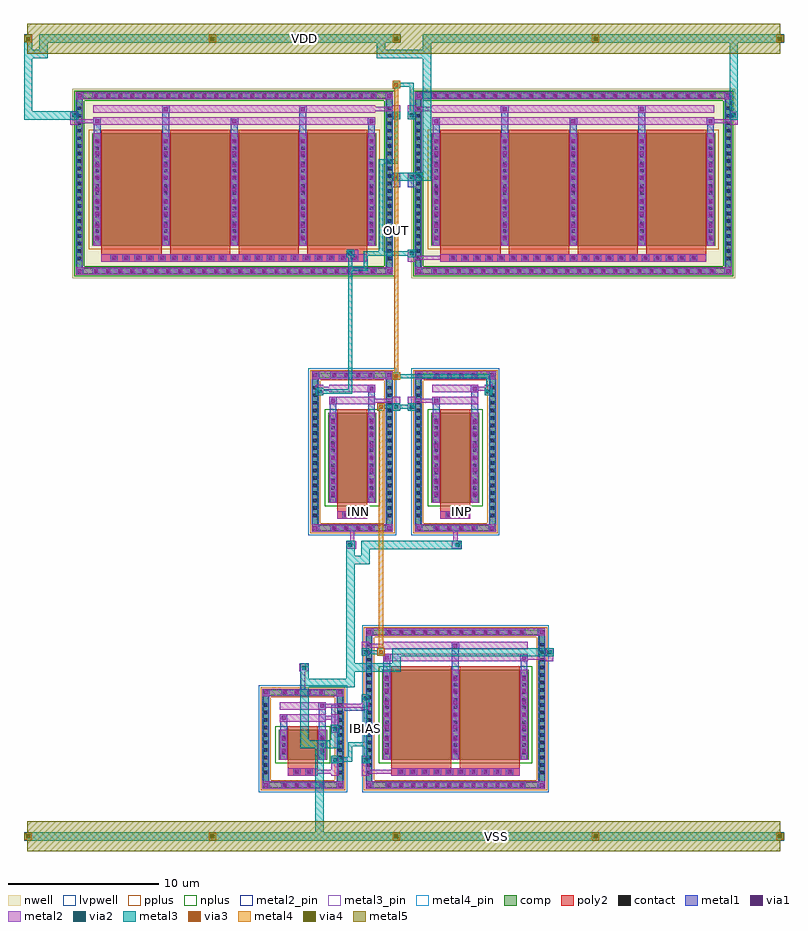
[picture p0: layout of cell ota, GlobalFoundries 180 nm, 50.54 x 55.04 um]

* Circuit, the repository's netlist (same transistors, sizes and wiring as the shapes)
* ox-alpha OTA -- 5T NMOS-input OTA, PMOS mirror load, IBIAS-driven tail
* topology: differential pair XM1/XM2, mirror load XM3/XM4,
* tail XMTAIL mirrored from external IBIAS via diode XMBIAS
.lib "{PDK_LIB}" typical
.subckt ota VDD VSS INP INN OUT IBIAS
XMBIAS IBIAS IBIAS VSS VSS nfet_03v3 W=2.0u L=2.0u nf=1
XMTAIL tail IBIAS VSS VSS nfet_03v3 W=12.0u L=4.0u nf=2
XM1 n1 INN tail VSS nfet_03v3 W=6.0u L=2.0u nf=1
XM2 OUT INP tail VSS nfet_03v3 W=6.0u L=2.0u nf=1
XM3 n1 n1 VDD VDD pfet_03v3 W=30.0u L=4.0u nf=4
XM4 OUT n1 VDD VDD pfet_03v3 W=30.0u L=4.0u nf=4
.ends

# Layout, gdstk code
import gdstk
lib = gdstk.Library(unit=1e-6, precision=1e-09)
def R(c, l, rs):  # rectangles x0, y0, x1, y1
    for r in rs: c.add(gdstk.rectangle(r[:2], r[2:], *l))
def A(c, l, x, y, w, h, nx, ny, dx, dy):  # array of equal rectangles
    R(c, l, [(x+i*dx, y+j*dy, x+i*dx+w, y+j*dy+h) for i in range(nx) for j in range(ny)])
def P(c, l, *ps):  # polygons
    for p in ps: c.add(gdstk.Polygon(p, *l))
nwell = (21, 0)
comp = (22, 0)
poly2 = (30, 0)
pplus = (31, 0)
nplus = (32, 0)
contact = (33, 0)
metal1 = (34, 0)
via1 = (35, 0)
metal2 = (36, 0)
metal2_pin = (36, 10)
via2 = (38, 0)
via3 = (40, 0)
via4 = (41, 0)
metal3 = (42, 0)
metal3_pin = (42, 10)
metal4 = (46, 0)
metal4_pin = (46, 10)
metal5 = (81, 0)
lvpwell = (204, 0)

ota = lib.new_cell('ota')
R(ota, nwell, [(-22.04,34.18,-0.5,46.77), (0.5,34.18,22.04,46.77)])
A(ota, comp, -8.09, 0.28, 0.36, 0.36, 4, 2, 0.8, 6.17)
A(ota, comp, -1.15, 0.28, 0.36, 0.36, 12, 2, 0.8, 10.17)
A(ota, comp, -9.36, 1.115, 0.36, 0.36, 1, 10, 0, 0.5)
A(ota, comp, -4.42, 1.115, 0.36, 0.36, 1, 10, 0, 0.5)
A(ota, comp, -2.5, 1.115, 0.36, 0.36, 1, 18, 0, 0.5)
A(ota, comp, 9, 1.115, 0.36, 0.36, 1, 18, 0, 0.5)
A(ota, comp, -4.81, 17.37, 0.36, 0.36, 4, 2, 0.8, 10.17)
A(ota, comp, 2.05, 17.37, 0.36, 0.36, 4, 2, 0.8, 10.17)
A(ota, comp, -6.08, 18.205, 0.36, 0.36, 1, 18, 0, 0.5)
A(ota, comp, -1.14, 18.205, 0.36, 0.36, 1, 18, 0, 0.5)
A(ota, comp, 0.78, 18.205, 0.36, 0.36, 1, 18, 0, 0.5)
A(ota, comp, 5.72, 18.205, 0.36, 0.36, 1, 18, 0, 0.5)
A(ota, comp, -20.65, 34.46, 0.36, 0.36, 24, 2, 0.8, 11.67)
A(ota, comp, 1.89, 34.46, 0.36, 0.36, 24, 2, 0.8, 11.67)
A(ota, comp, -21.76, 35.295, 0.36, 0.36, 1, 21, 0, 0.5)
A(ota, comp, -1.14, 35.295, 0.36, 0.36, 1, 21, 0, 0.5)
A(ota, comp, 0.78, 35.295, 0.36, 0.36, 1, 21, 0, 0.5)
A(ota, comp, 21.4, 35.295, 0.36, 0.36, 1, 21, 0, 0.5)
R(ota, comp, [(-8.09,0.28,-5.33,0.64), (-1.15,0.28,8.01,0.64), (-9.36,1.115,-9,5.975), (-4.42,1.115,-4.06,5.975), (-2.5,1.115,-2.14,9.975), (9,1.115,9.36,9.975), (-8.31,2.14,-5.11,4.14), (-1.45,2.14,8.31,8.14), (-8.09,6.45,-5.33,6.81), (-1.15,10.45,8.01,10.81), (-4.81,17.37,-2.05,17.73), (2.05,17.37,4.81,17.73), (-6.08,18.205,-5.72,27.065), (-1.14,18.205,-0.78,27.065), (0.78,18.205,1.14,27.065), (5.72,18.205,6.08,27.065), (-5.03,19.23,-1.83,25.23), (1.83,19.23,5.03,25.23), (-4.81,27.54,-2.05,27.9), (2.05,27.54,4.81,27.9), (-20.65,34.46,-1.89,34.82), (1.89,34.46,20.65,34.82), (-21.76,35.295,-21.4,45.655), (-1.14,35.295,-0.78,45.655), (0.78,35.295,1.14,45.655), (21.4,35.295,21.76,45.655), (-20.71,36.32,-1.83,43.82), (1.83,36.32,20.71,43.82), (-20.65,46.13,-1.89,46.49), (1.89,46.13,20.65,46.49)])
P(ota, comp, [(-4.06,6.81),(-9.36,6.81),(-9.36,0.64),(-9,0.64),(-9,6.45),(-4.42,6.45),(-4.42,0.64),(-9,0.64),(-9.36,0.64),(-9.36,0.28),(-4.06,0.28)],
  [(21.76,46.49),(0.78,46.49),(0.78,34.82),(1.14,34.82),(1.14,46.13),(21.4,46.13),(21.4,34.82),(1.14,34.82),(0.78,34.82),(0.78,34.46),(21.76,34.46)],
  [(-0.78,46.49),(-21.76,46.49),(-21.76,34.82),(-21.4,34.82),(-21.4,46.13),(-1.14,46.13),(-1.14,34.82),(-21.4,34.82),(-21.76,34.82),(-21.76,34.46),(-0.78,34.46)],
  [(6.08,27.9),(0.78,27.9),(0.78,17.73),(1.14,17.73),(1.14,27.54),(5.72,27.54),(5.72,17.73),(1.14,17.73),(0.78,17.73),(0.78,17.37),(6.08,17.37)],
  [(-0.78,27.9),(-6.08,27.9),(-6.08,17.73),(-5.72,17.73),(-5.72,27.54),(-1.14,27.54),(-1.14,17.73),(-5.72,17.73),(-6.08,17.73),(-6.08,17.37),(-0.78,17.37)],
  [(9.36,10.81),(-2.5,10.81),(-2.5,0.64),(-2.14,0.64),(-2.14,10.45),(9,10.45),(9,0.64),(-2.14,0.64),(-2.5,0.64),(-2.5,0.28),(9.36,0.28)])
A(ota, poly2, -0.35, 1.17, 0.36, 0.36, 10, 1, 0.8, 0)
A(ota, poly2, -19.45, 35.35, 0.36, 0.36, 21, 1, 0.8, 0)
A(ota, poly2, 3.09, 35.35, 0.36, 0.36, 21, 1, 0.8, 0)
A(ota, poly2, -20.11, 35.78, 4, 0.3, 4, 1, 4.56, 0)
A(ota, poly2, 2.43, 35.78, 4, 0.3, 4, 1, 4.56, 0)
A(ota, poly2, -20.11, 36.08, 4, 7.98, 4, 1, 4.56, 0)
A(ota, poly2, 2.43, 36.08, 4, 7.98, 4, 1, 4.56, 0)
R(ota, poly2, [(-7.71,1.1,-5.71,1.6), (-0.85,1.1,7.71,1.6), (-7.29,1.17,-6.93,1.53), (-6.49,1.17,-6.13,1.53), (-7.71,1.6,-5.71,1.9), (-0.85,1.6,3.15,1.9), (3.71,1.6,7.71,1.9), (-7.71,1.9,-5.71,4.38), (-0.85,1.9,3.15,8.38), (3.71,1.9,7.71,8.38), (-4.43,18.19,-2.43,18.69), (2.43,18.19,4.43,18.69), (-4.01,18.26,-3.65,18.62), (-3.21,18.26,-2.85,18.62), (2.85,18.26,3.21,18.62), (3.65,18.26,4.01,18.62), (-4.43,18.69,-2.43,18.99), (2.43,18.69,4.43,18.99), (-4.43,18.99,-2.43,25.47), (2.43,18.99,4.43,25.47), (-20.11,35.28,-2.43,35.78), (2.43,35.28,20.11,35.78)])
R(ota, pplus, [(-20.94,36.09,-1.6,44.05), (1.6,36.09,20.94,44.05)])
P(ota, pplus, [(-3.9,6.97),(-9.52,6.97),(-9.52,0.8),(-8.84,0.8),(-8.84,6.29),(-4.58,6.29),(-4.58,0.8),(-8.84,0.8),(-9.52,0.8),(-9.52,0.12),(-3.9,0.12)],
  [(6.24,28.06),(0.62,28.06),(0.62,17.89),(1.3,17.89),(1.3,27.38),(5.56,27.38),(5.56,17.89),(1.3,17.89),(0.62,17.89),(0.62,17.21),(6.24,17.21)],
  [(-0.62,28.06),(-6.24,28.06),(-6.24,17.89),(-5.56,17.89),(-5.56,27.38),(-1.3,27.38),(-1.3,17.89),(-5.56,17.89),(-6.24,17.89),(-6.24,17.21),(-0.62,17.21)],
  [(9.52,10.97),(-2.66,10.97),(-2.66,0.8),(-1.98,0.8),(-1.98,10.29),(8.84,10.29),(8.84,0.8),(-1.98,0.8),(-2.66,0.8),(-2.66,0.12),(9.52,0.12)])
R(ota, nplus, [(-8.54,1.91,-4.88,4.37), (-1.68,1.91,8.54,8.37), (-5.26,19,-1.6,25.46), (1.6,19,5.26,25.46)])
P(ota, nplus, [(21.92,46.65),(0.62,46.65),(0.62,34.98),(1.3,34.98),(1.3,45.97),(21.24,45.97),(21.24,34.98),(1.3,34.98),(0.62,34.98),(0.62,34.3),(21.92,34.3)],
  [(-0.62,46.65),(-21.92,46.65),(-21.92,34.98),(-21.24,34.98),(-21.24,45.97),(-1.3,45.97),(-1.3,34.98),(-21.24,34.98),(-21.92,34.98),(-21.92,34.3),(-0.62,34.3)])
A(ota, contact, -8.02, 0.35, 0.22, 0.22, 4, 2, 0.8, 6.17)
A(ota, contact, -1.08, 0.35, 0.22, 0.22, 12, 2, 0.8, 10.17)
A(ota, contact, -9.29, 1.185, 0.22, 0.22, 1, 10, 0, 0.5)
A(ota, contact, -4.35, 1.185, 0.22, 0.22, 1, 10, 0, 0.5)
A(ota, contact, -2.43, 1.185, 0.22, 0.22, 1, 18, 0, 0.5)
A(ota, contact, 9.07, 1.185, 0.22, 0.22, 1, 18, 0, 0.5)
A(ota, contact, -0.28, 1.24, 0.22, 0.22, 10, 1, 0.8, 0)
A(ota, contact, -8.1, 2.53, 0.22, 0.22, 1, 3, 0, 0.5)
A(ota, contact, -5.54, 2.53, 0.22, 0.22, 1, 3, 0, 0.5)
A(ota, contact, -1.24, 2.53, 0.22, 0.22, 3, 11, 4.56, 0.5)
A(ota, contact, -4.74, 17.44, 0.22, 0.22, 4, 2, 0.8, 10.17)
A(ota, contact, 2.12, 17.44, 0.22, 0.22, 4, 2, 0.8, 10.17)
A(ota, contact, -6.01, 18.275, 0.22, 0.22, 1, 18, 0, 0.5)
A(ota, contact, -1.07, 18.275, 0.22, 0.22, 1, 18, 0, 0.5)
A(ota, contact, 0.85, 18.275, 0.22, 0.22, 1, 18, 0, 0.5)
A(ota, contact, 5.79, 18.275, 0.22, 0.22, 1, 18, 0, 0.5)
A(ota, contact, -4.82, 19.62, 0.22, 0.22, 1, 11, 0, 0.5)
A(ota, contact, -2.26, 19.62, 0.22, 0.22, 1, 11, 0, 0.5)
A(ota, contact, 2.04, 19.62, 0.22, 0.22, 1, 11, 0, 0.5)
A(ota, contact, 4.6, 19.62, 0.22, 0.22, 1, 11, 0, 0.5)
A(ota, contact, -20.58, 34.53, 0.22, 0.22, 24, 2, 0.8, 11.67)
A(ota, contact, 1.96, 34.53, 0.22, 0.22, 24, 2, 0.8, 11.67)
A(ota, contact, -21.69, 35.365, 0.22, 0.22, 1, 21, 0, 0.5)
A(ota, contact, -1.07, 35.365, 0.22, 0.22, 1, 21, 0, 0.5)
A(ota, contact, 0.85, 35.365, 0.22, 0.22, 1, 21, 0, 0.5)
A(ota, contact, 21.47, 35.365, 0.22, 0.22, 1, 21, 0, 0.5)
A(ota, contact, -19.38, 35.42, 0.22, 0.22, 21, 1, 0.8, 0)
A(ota, contact, 3.16, 35.42, 0.22, 0.22, 21, 1, 0.8, 0)
A(ota, contact, -20.5, 36.71, 0.22, 0.22, 5, 14, 4.56, 0.5)
A(ota, contact, 2.04, 36.71, 0.22, 0.22, 5, 14, 4.56, 0.5)
R(ota, contact, [(-7.22,1.24,-7,1.46), (-6.42,1.24,-6.2,1.46), (-3.94,18.33,-3.72,18.55), (-3.14,18.33,-2.92,18.55), (2.92,18.33,3.14,18.55), (3.72,18.33,3.94,18.55)])
A(ota, metal1, -8.16, 0.21, 0.5, 0.5, 4, 2, 0.8, 6.17)
A(ota, metal1, -1.22, 0.21, 0.5, 0.5, 12, 2, 0.8, 10.17)
A(ota, metal1, -9.41, 1.065, 0.46, 0.46, 1, 10, 0, 0.5)
A(ota, metal1, -4.47, 1.065, 0.46, 0.46, 1, 10, 0, 0.5)
A(ota, metal1, -2.55, 1.065, 0.46, 0.46, 1, 18, 0, 0.5)
A(ota, metal1, 8.95, 1.065, 0.46, 0.46, 1, 18, 0, 0.5)
A(ota, metal1, -0.42, 1.1, 0.5, 0.5, 10, 1, 0.8, 0)
A(ota, metal1, -1.36, 2.14, 0.46, 6, 3, 1, 4.56, 0)
A(ota, metal1, -8.22, 2.41, 0.46, 0.46, 1, 3, 0, 0.5)
A(ota, metal1, -5.66, 2.41, 0.46, 0.46, 1, 3, 0, 0.5)
A(ota, metal1, -1.36, 2.41, 0.46, 0.46, 3, 11, 4.56, 0.5)
A(ota, metal1, -1.38, 2.49, 0.5, 0.5, 3, 7, 4.56, 0.8)
A(ota, metal1, -1.38, 2.49, 0.5, 5.3, 3, 1, 4.56, 0)
A(ota, metal1, -4.88, 17.3, 0.5, 0.5, 4, 2, 0.8, 10.17)
A(ota, metal1, 1.98, 17.3, 0.5, 0.5, 4, 2, 0.8, 10.17)
A(ota, metal1, -6.13, 18.155, 0.46, 0.46, 1, 18, 0, 0.5)
A(ota, metal1, -1.19, 18.155, 0.46, 0.46, 1, 18, 0, 0.5)
A(ota, metal1, 0.73, 18.155, 0.46, 0.46, 1, 18, 0, 0.5)
A(ota, metal1, 5.67, 18.155, 0.46, 0.46, 1, 18, 0, 0.5)
A(ota, metal1, -4.94, 19.5, 0.46, 0.46, 1, 11, 0, 0.5)
A(ota, metal1, -2.38, 19.5, 0.46, 0.46, 1, 11, 0, 0.5)
A(ota, metal1, 1.92, 19.5, 0.46, 0.46, 1, 11, 0, 0.5)
A(ota, metal1, 4.48, 19.5, 0.46, 0.46, 1, 11, 0, 0.5)
A(ota, metal1, -4.96, 19.58, 0.5, 0.5, 1, 7, 0, 0.8)
A(ota, metal1, -2.4, 19.58, 0.5, 0.5, 1, 7, 0, 0.8)
A(ota, metal1, 1.9, 19.58, 0.5, 0.5, 1, 7, 0, 0.8)
A(ota, metal1, 4.46, 19.58, 0.5, 0.5, 1, 7, 0, 0.8)
A(ota, metal1, -20.72, 34.39, 0.5, 0.5, 24, 2, 0.8, 11.67)
A(ota, metal1, 1.82, 34.39, 0.5, 0.5, 24, 2, 0.8, 11.67)
A(ota, metal1, -21.81, 35.245, 0.46, 0.46, 1, 21, 0, 0.5)
A(ota, metal1, -1.19, 35.245, 0.46, 0.46, 1, 21, 0, 0.5)
A(ota, metal1, 0.73, 35.245, 0.46, 0.46, 1, 21, 0, 0.5)
A(ota, metal1, 21.35, 35.245, 0.46, 0.46, 1, 21, 0, 0.5)
A(ota, metal1, -19.52, 35.28, 0.5, 0.5, 21, 1, 0.8, 0)
A(ota, metal1, 3.02, 35.28, 0.5, 0.5, 21, 1, 0.8, 0)
A(ota, metal1, -20.62, 36.32, 0.46, 7.5, 5, 1, 4.56, 0)
A(ota, metal1, 1.92, 36.32, 0.46, 7.5, 5, 1, 4.56, 0)
A(ota, metal1, -20.62, 36.59, 0.46, 0.46, 5, 14, 4.56, 0.5)
A(ota, metal1, 1.92, 36.59, 0.46, 0.46, 5, 14, 4.56, 0.5)
A(ota, metal1, -20.64, 36.62, 0.5, 0.5, 5, 9, 4.56, 0.8)
A(ota, metal1, -20.64, 36.62, 0.5, 6.9, 5, 1, 4.56, 0)
A(ota, metal1, 1.9, 36.62, 0.5, 0.5, 5, 9, 4.56, 0.8)
A(ota, metal1, 1.9, 36.62, 0.5, 6.9, 5, 1, 4.56, 0)
A(ota, metal1, -20.62, 43.82, 0.46, 1.05, 3, 1, 9.12, 0)
A(ota, metal1, 1.92, 43.82, 0.46, 1.05, 3, 1, 9.12, 0)
A(ota, metal1, -20.64, 44.37, 0.5, 0.5, 3, 1, 9.12, 0)
A(ota, metal1, 1.9, 44.37, 0.5, 0.5, 3, 1, 9.12, 0)
R(ota, metal1, [(-9.41,0.21,-8.91,0.71), (-9.41,0.21,-8.91,0.71), (-9.41,0.21,-8.95,0.64), (-8.16,0.21,-5.26,0.71), (-4.51,0.21,-4.01,0.71), (-4.51,0.21,-4.01,0.71), (-4.47,0.21,-4.01,0.64), (-2.55,0.21,-2.05,0.71), (-2.55,0.21,-2.05,0.71), (-2.55,0.21,-2.09,0.64), (-1.22,0.21,8.08,0.71), (8.91,0.21,9.41,0.71), (8.91,0.21,9.41,0.71), (8.95,0.21,9.41,0.64), (-9.41,0.64,-8.95,6.45), (-4.47,0.64,-4.01,6.45), (-2.55,0.64,-2.09,10.45), (8.95,0.64,9.41,10.45), (-7.36,1.1,-6.86,1.6), (-6.56,1.1,-6.06,1.6), (-8.22,2.14,-7.76,4.14), (-5.66,2.14,-5.2,4.14), (-8.24,2.49,-7.74,2.99), (-8.24,2.49,-7.74,3.79), (-5.68,2.49,-5.18,2.99), (-5.68,2.49,-5.18,3.79), (-8.24,3.29,-7.74,3.79), (-5.68,3.29,-5.18,3.79), (-4.83,3.95,-4.33,5.79), (-4.83,3.95,-4.33,5.79), (-8.22,4.14,-7.76,5.19), (-5.66,4.14,-5.2,5.99), (-8.24,4.69,-7.74,5.19), (-4.695,5.425,-2.435,5.655), (-4.695,5.425,-2.435,5.655), (-5.68,5.49,-5.18,5.99), (-9.41,6.38,-8.91,6.88), (-9.41,6.38,-8.91,6.88), (-8.16,6.38,-5.26,6.88), (-4.51,6.38,-4.01,6.88), (-4.51,6.38,-4.01,6.88), (-9.41,6.45,-8.95,6.88), (-4.47,6.45,-4.01,6.88), (-1.36,8.14,-0.9,9.19), (3.2,8.14,3.66,9.99), (7.76,8.14,8.22,9.19), (-1.38,8.69,-0.88,9.19), (7.74,8.69,8.24,9.19), (3.18,9.49,3.68,9.99), (-2.55,10.38,-2.05,10.88), (-2.55,10.38,-2.05,10.88), (-1.22,10.38,8.08,10.88), (8.91,10.38,9.41,10.88), (8.91,10.38,9.41,10.88), (-2.55,10.45,-2.09,10.88), (8.95,10.45,9.41,10.88), (-6.13,17.3,-5.63,17.8), (-6.13,17.3,-5.63,17.8), (-6.13,17.3,-5.67,17.73), (-4.88,17.3,-1.98,17.8), (-1.23,17.3,-0.73,17.8), (-1.23,17.3,-0.73,17.8), (-1.19,17.3,-0.73,17.73), (0.73,17.3,1.23,17.8), (0.73,17.3,1.23,17.8), (0.73,17.3,1.19,17.73), (1.98,17.3,4.88,17.8), (5.63,17.3,6.13,17.8), (5.63,17.3,6.13,17.8), (5.67,17.3,6.13,17.73), (-6.13,17.73,-5.67,27.54), (-1.19,17.73,-0.73,27.54), (0.73,17.73,1.19,27.54), (5.67,17.73,6.13,27.54), (-4.08,18.19,-3.58,18.69), (-3.28,18.19,-2.78,18.69), (2.78,18.19,3.28,18.69), (3.58,18.19,4.08,18.69), (-4.94,19.23,-4.48,25.23), (-2.38,19.23,-1.92,25.23), (1.92,19.23,2.38,25.23), (4.48,19.23,4.94,25.23), (-4.96,19.58,-4.46,24.88), (-2.4,19.58,-1.9,24.88), (1.9,19.58,2.4,24.88), (4.46,19.58,4.96,24.88), (-4.94,25.23,-4.48,26.28), (-2.38,25.23,-1.92,27.08), (1.92,25.23,2.38,26.28), (4.48,25.23,4.94,27.08), (-4.96,25.78,-4.46,26.28), (1.9,25.78,2.4,26.28), (-2.4,26.58,-1.9,27.08), (4.46,26.58,4.96,27.08), (-6.13,27.47,-5.63,27.97), (-6.13,27.47,-5.63,27.97), (-4.88,27.47,-1.98,27.97), (-1.23,27.47,-0.73,27.97), (-1.23,27.47,-0.73,27.97), (0.73,27.47,1.23,27.97), (0.73,27.47,1.23,27.97), (1.98,27.47,4.88,27.97), (5.63,27.47,6.13,27.97), (5.63,27.47,6.13,27.97), (-6.13,27.54,-5.67,27.97), (-1.19,27.54,-0.73,27.97), (0.73,27.54,1.19,27.97), (5.67,27.54,6.13,27.97), (-21.81,34.39,-21.31,34.89), (-21.81,34.39,-21.31,34.89), (-21.81,34.39,-21.35,34.82), (-20.72,34.39,-1.82,34.89), (-1.23,34.39,-0.73,34.89), (-1.23,34.39,-0.73,34.89), (-1.19,34.39,-0.73,34.82), (0.73,34.39,1.23,34.89), (0.73,34.39,1.23,34.89), (0.73,34.39,1.19,34.82), (1.82,34.39,20.72,34.89), (21.31,34.39,21.81,34.89), (21.31,34.39,21.81,34.89), (21.35,34.39,21.81,34.82), (-21.81,34.82,-21.35,46.13), (-1.19,34.82,-0.73,46.13), (0.73,34.82,1.19,46.13), (21.35,34.82,21.81,46.13), (-0.845,40.205,-0.73,40.365), (-0.75,40.205,-0.73,40.23), (0.73,40.205,0.845,40.365), (0.73,40.205,0.77,40.23), (-0.75,40.23,-0.25,41.17), (0.27,40.23,0.77,41.17), (-0.845,40.365,-0.385,40.595), (0.405,40.365,0.845,40.595), (-0.845,40.595,-0.73,40.745), (0.73,40.595,0.845,40.745), (-0.75,40.67,-0.25,41.17), (0.27,40.67,0.77,41.17), (-0.75,41.17,-0.73,41.245), (0.73,41.17,0.77,41.245), (-16.06,43.82,-15.6,45.67), (-6.94,43.82,-6.48,45.67), (6.48,43.82,6.94,45.67), (15.6,43.82,16.06,45.67), (-16.08,45.17,-15.58,45.67), (-6.96,45.17,-6.46,45.67), (6.46,45.17,6.96,45.67), (15.58,45.17,16.08,45.67), (-21.81,46.06,-21.31,46.56), (-21.81,46.06,-21.31,46.56), (-20.72,46.06,-1.82,46.56), (-1.23,46.06,-0.73,46.56), (-1.23,46.06,-0.73,46.56), (0.73,46.06,1.23,46.56), (0.73,46.06,1.23,46.56), (1.82,46.06,20.72,46.56), (21.31,46.06,21.81,46.56), (21.31,46.06,21.81,46.56), (-21.81,46.13,-21.35,46.56), (-1.19,46.13,-0.73,46.56), (0.73,46.13,1.19,46.56), (21.35,46.13,21.81,46.56)])
A(ota, via1, -8.04, 0.33, 0.26, 0.26, 4, 2, 0.8, 6.17)
A(ota, via1, -1.1, 0.33, 0.26, 0.26, 12, 2, 0.8, 10.17)
A(ota, via1, -0.3, 1.22, 0.26, 0.26, 10, 1, 0.8, 0)
A(ota, via1, -1.26, 2.61, 0.26, 0.26, 3, 7, 4.56, 0.8)
A(ota, via1, -4.76, 17.42, 0.26, 0.26, 4, 2, 0.8, 10.17)
A(ota, via1, 2.1, 17.42, 0.26, 0.26, 4, 2, 0.8, 10.17)
A(ota, via1, -4.84, 19.7, 0.26, 0.26, 1, 7, 0, 0.8)
A(ota, via1, -2.28, 19.7, 0.26, 0.26, 1, 7, 0, 0.8)
A(ota, via1, 2.02, 19.7, 0.26, 0.26, 1, 7, 0, 0.8)
A(ota, via1, 4.58, 19.7, 0.26, 0.26, 1, 7, 0, 0.8)
A(ota, via1, -20.6, 34.51, 0.26, 0.26, 24, 2, 0.8, 11.67)
A(ota, via1, 1.94, 34.51, 0.26, 0.26, 24, 2, 0.8, 11.67)
A(ota, via1, -19.4, 35.4, 0.26, 0.26, 21, 1, 0.8, 0)
A(ota, via1, 3.14, 35.4, 0.26, 0.26, 21, 1, 0.8, 0)
A(ota, via1, -20.52, 36.74, 0.26, 0.26, 5, 9, 4.56, 0.8)
A(ota, via1, 2.02, 36.74, 0.26, 0.26, 5, 9, 4.56, 0.8)
A(ota, via1, -20.52, 44.49, 0.26, 0.26, 3, 1, 9.12, 0)
A(ota, via1, 2.02, 44.49, 0.26, 0.26, 3, 1, 9.12, 0)
R(ota, via1, [(-9.29,0.33,-9.03,0.59), (-4.39,0.33,-4.13,0.59), (-2.43,0.33,-2.17,0.59), (9.03,0.33,9.29,0.59), (-7.24,1.22,-6.98,1.48), (-6.44,1.22,-6.18,1.48), (-8.12,2.61,-7.86,2.87), (-5.56,2.61,-5.3,2.87), (-8.12,3.41,-7.86,3.67), (-5.56,3.41,-5.3,3.67), (-8.12,4.81,-7.86,5.07), (-5.56,5.61,-5.3,5.87), (-9.29,6.5,-9.03,6.76), (-4.39,6.5,-4.13,6.76), (-1.26,8.81,-1,9.07), (7.86,8.81,8.12,9.07), (3.3,9.61,3.56,9.87), (-2.43,10.5,-2.17,10.76), (9.03,10.5,9.29,10.76), (-6.01,17.42,-5.75,17.68), (-1.11,17.42,-0.85,17.68), (0.85,17.42,1.11,17.68), (5.75,17.42,6.01,17.68), (-3.96,18.31,-3.7,18.57), (-3.16,18.31,-2.9,18.57), (2.9,18.31,3.16,18.57), (3.7,18.31,3.96,18.57), (-4.84,25.9,-4.58,26.16), (2.02,25.9,2.28,26.16), (-2.28,26.7,-2.02,26.96), (4.58,26.7,4.84,26.96), (-6.01,27.59,-5.75,27.85), (-1.11,27.59,-0.85,27.85), (0.85,27.59,1.11,27.85), (5.75,27.59,6.01,27.85), (-21.69,34.51,-21.43,34.77), (-1.11,34.51,-0.85,34.77), (0.85,34.51,1.11,34.77), (21.43,34.51,21.69,34.77), (-0.63,40.79,-0.37,41.05), (0.39,40.79,0.65,41.05), (-15.96,45.29,-15.7,45.55), (-6.84,45.29,-6.58,45.55), (6.58,45.29,6.84,45.55), (15.7,45.29,15.96,45.55), (-21.69,46.18,-21.43,46.44), (-1.11,46.18,-0.85,46.44), (0.85,46.18,1.11,46.44), (21.43,46.18,21.69,46.44)])
A(ota, metal2, -8.16, 0.21, 0.5, 0.5, 4, 2, 0.8, 6.17)
A(ota, metal2, -1.22, 0.21, 0.5, 0.5, 12, 2, 0.8, 10.17)
A(ota, metal2, -0.42, 1.1, 0.5, 0.5, 10, 1, 0.8, 0)
A(ota, metal2, -1.38, 2.14, 0.5, 6, 3, 1, 4.56, 0)
A(ota, metal2, -1.38, 2.49, 0.5, 0.5, 3, 7, 4.56, 0.8)
A(ota, metal2, -4.88, 17.3, 0.5, 0.5, 4, 2, 0.8, 10.17)
A(ota, metal2, 1.98, 17.3, 0.5, 0.5, 4, 2, 0.8, 10.17)
A(ota, metal2, -4.96, 19.58, 0.5, 0.5, 1, 7, 0, 0.8)
A(ota, metal2, -2.4, 19.58, 0.5, 0.5, 1, 7, 0, 0.8)
A(ota, metal2, 1.9, 19.58, 0.5, 0.5, 1, 7, 0, 0.8)
A(ota, metal2, 4.46, 19.58, 0.5, 0.5, 1, 7, 0, 0.8)
A(ota, metal2, -20.72, 34.39, 0.5, 0.5, 24, 2, 0.8, 11.67)
A(ota, metal2, 1.82, 34.39, 0.5, 0.5, 24, 2, 0.8, 11.67)
A(ota, metal2, -19.52, 35.28, 0.5, 0.5, 21, 1, 0.8, 0)
A(ota, metal2, 3.02, 35.28, 0.5, 0.5, 21, 1, 0.8, 0)
A(ota, metal2, -20.64, 36.32, 0.5, 7.5, 5, 1, 4.56, 0)
A(ota, metal2, 1.9, 36.32, 0.5, 7.5, 5, 1, 4.56, 0)
A(ota, metal2, -20.64, 36.62, 0.5, 0.5, 5, 9, 4.56, 0.8)
A(ota, metal2, 1.9, 36.62, 0.5, 0.5, 5, 9, 4.56, 0.8)
A(ota, metal2, -20.64, 44.37, 0.5, 0.5, 3, 1, 9.12, 0)
A(ota, metal2, 1.9, 44.37, 0.5, 0.5, 3, 1, 9.12, 0)
R(ota, metal2, [(-9.41,0.21,-8.91,0.71), (-9.41,0.21,-8.91,0.71), (-9.41,0.21,-9,0.71), (-9,0.21,-4.42,0.71), (-4.51,0.21,-4.01,0.71), (-4.51,0.21,-4.01,0.71), (-4.42,0.21,-4.01,0.71), (-2.55,0.21,-2.05,0.71), (-2.55,0.21,-2.05,0.71), (-2.55,0.21,-2.14,0.71), (-2.14,0.21,9,0.71), (8.91,0.21,9.41,0.71), (8.91,0.21,9.41,0.71), (9,0.21,9.41,0.71), (-7.71,1.1,-5.71,1.6), (-7.36,1.1,-6.86,1.6), (-6.56,1.1,-6.06,1.6), (-4.83,1.1,-4.33,2.41), (-2.79,1.1,-2.29,2.41), (-0.85,1.1,7.71,1.6), (-6.06,1.21,-5.85,1.49), (-5.85,1.21,-4.44,1.49), (-2.68,1.21,-0.71,1.49), (-0.71,1.21,-0.42,1.49), (-4.83,1.91,-4.33,2.41), (-2.79,1.91,-2.29,2.41), (-8.24,2.14,-7.74,4.14), (-5.68,2.14,-5.18,4.14), (-8.24,2.49,-7.74,2.99), (-5.68,2.49,-5.18,2.99), (-8.24,3.29,-7.74,3.79), (-5.68,3.29,-5.18,3.79), (-4.83,3.95,-4.33,5.19), (-4.83,3.95,-4.33,5.19), (-4.83,3.95,-4.33,4.45), (-8.24,4.69,-7.74,5.19), (-8.24,4.69,-5.18,5.19), (-5.32,4.8,-4.44,5.08), (-5.32,4.8,-4.44,5.08), (-8.24,5.49,-5.18,5.99), (-5.68,5.49,-5.18,5.99), (-2.79,5.49,-2.29,6.49), (-5.32,5.6,-2.4,5.88), (-2.79,5.99,-2.29,6.49), (-9.41,6.38,-8.91,6.88), (-9.41,6.38,-8.91,6.88), (-9.41,6.38,-9,6.88), (-9,6.38,-4.42,6.88), (-4.51,6.38,-4.01,6.88), (-4.51,6.38,-4.01,6.88), (-4.42,6.38,-4.01,6.88), (-6.86,6.74,-6.85,6.88), (-6.85,6.74,-6.57,8.42), (-6.57,6.74,-6.56,6.88), (-6.96,8.03,-6.37,8.53), (-6.87,8.03,-6.37,8.53), (-1.38,8.69,-0.88,9.19), (-1.38,8.69,8.24,9.19), (7.74,8.69,8.24,9.19), (9.45,8.69,9.95,9.55), (8.1,8.8,9.84,9.08), (-2.79,9.05,-2.29,9.99), (-2.79,9.05,-2.29,9.55), (9.45,9.05,9.95,9.55), (-1.38,9.49,8.24,9.99), (3.18,9.49,3.68,9.99), (-2.68,9.6,-1.24,9.88), (-2.55,10.38,-2.05,10.88), (-2.55,10.38,-2.05,10.88), (-2.55,10.38,-2.14,10.88), (-2.14,10.38,9,10.88), (8.91,10.38,9.41,10.88), (8.91,10.38,9.41,10.88), (9,10.38,9.41,10.88), (-3.81,16.19,-3.18,16.69), (-3.81,16.19,-3.31,16.69), (3.18,16.19,3.83,16.69), (3.33,16.19,3.83,16.69), (-3.57,16.3,-3.29,17.44), (3.29,16.3,3.57,17.44), (-6.13,17.3,-5.63,17.8), (-6.13,17.3,-5.63,17.8), (-6.13,17.3,-5.72,17.8), (-5.72,17.3,-1.14,17.8), (-3.58,17.3,-3.57,17.44), (-3.29,17.3,-3.28,17.44), (-1.23,17.3,-0.73,17.8), (-1.23,17.3,-0.73,17.8), (-1.14,17.3,-0.73,17.8), (0.73,17.3,1.23,17.8), (0.73,17.3,1.23,17.8), (0.73,17.3,1.14,17.8), (1.14,17.3,5.72,17.8), (3.28,17.3,3.29,17.44), (3.57,17.3,3.58,17.44), (5.63,17.3,6.13,17.8), (5.63,17.3,6.13,17.8), (5.72,17.3,6.13,17.8), (-4.43,18.19,-2.43,18.69), (-4.08,18.19,-3.58,18.69), (-3.28,18.19,-2.78,18.69), (2.43,18.19,4.43,18.69), (2.78,18.19,3.28,18.69), (3.58,18.19,4.08,18.69), (-4.96,19.23,-4.46,25.23), (-2.4,19.23,-1.9,25.23), (1.9,19.23,2.4,25.23), (4.46,19.23,4.96,25.23), (-0.75,25.37,-0.25,26.28), (-0.75,25.37,-0.25,25.87), (0.27,25.37,0.77,26.28), (0.27,25.37,0.77,25.87), (-4.96,25.78,-4.46,26.28), (-4.96,25.78,-1.9,26.28), (1.9,25.78,2.4,26.28), (1.9,25.78,4.96,26.28), (-2.04,25.89,-0.36,26.17), (0.38,25.89,2.04,26.17), (-5.85,26.39,-5.35,27.08), (-5.85,26.39,-5.35,26.89), (5.37,26.39,5.87,27.08), (5.37,26.39,5.87,26.89), (-4.96,26.58,-1.9,27.08), (-2.4,26.58,-1.9,27.08), (1.9,26.58,4.96,27.08), (4.46,26.58,4.96,27.08), (-5.74,26.69,-4.82,26.97), (4.82,26.69,5.76,26.97), (-6.13,27.47,-5.63,27.97), (-6.13,27.47,-5.63,27.97), (-6.13,27.47,-5.72,27.97), (-5.72,27.47,-1.14,27.97), (-1.23,27.47,-0.73,27.97), (-1.23,27.47,-0.73,27.97), (-1.14,27.47,-0.73,27.97), (0.73,27.47,1.23,27.97), (0.73,27.47,1.23,27.97), (0.73,27.47,1.14,27.97), (1.14,27.47,5.72,27.97), (5.63,27.47,6.13,27.97), (5.63,27.47,6.13,27.97), (5.72,27.47,6.13,27.97), (-21.81,34.39,-21.31,34.89), (-21.81,34.39,-21.31,34.89), (-21.81,34.39,-21.4,34.89), (-21.4,34.39,-1.14,34.89), (-1.23,34.39,-0.73,34.89), (-1.23,34.39,-0.73,34.89), (-1.14,34.39,-0.73,34.89), (0.73,34.39,1.23,34.89), (0.73,34.39,1.23,34.89), (0.73,34.39,1.14,34.89), (1.14,34.39,21.4,34.89), (21.31,34.39,21.81,34.89), (21.31,34.39,21.81,34.89), (21.4,34.39,21.81,34.89), (-20.11,35.28,-2.43,35.78), (0.27,35.28,0.77,36.07), (2.43,35.28,20.11,35.78), (0.38,35.39,2.57,35.67), (-3.82,35.57,-3.81,35.78), (-3.81,35.57,-3.02,36.07), (-3.81,35.57,-3.31,36.07), (0.27,35.57,0.77,36.07), (-3.41,35.64,-3.13,35.96), (-0.75,40.67,-0.25,41.17), (0.27,40.67,0.77,41.17), (-22.17,44.37,-21.67,45.25), (-20.64,44.37,-1.9,44.87), (1.9,44.37,20.64,44.87), (21.69,44.37,22.19,45.25), (-22.06,44.48,-20.5,44.76), (20.5,44.48,22.08,44.76), (-22.17,44.75,-21.67,45.25), (-0.75,44.75,-0.25,45.67), (-0.75,44.75,-0.25,45.25), (0.27,44.75,0.77,45.67), (0.27,44.75,0.77,45.25), (21.69,44.75,22.19,45.25), (-20.64,45.17,-1.9,45.67), (-16.08,45.17,-15.58,45.67), (-6.96,45.17,-6.46,45.67), (1.9,45.17,20.64,45.67), (6.46,45.17,6.96,45.67), (15.58,45.17,16.08,45.67), (-2.04,45.28,-0.36,45.56), (0.38,45.28,2.04,45.56), (-21.81,46.06,-21.31,46.56), (-21.81,46.06,-21.31,46.56), (-21.81,46.06,-21.4,46.56), (-21.4,46.06,-1.14,46.56), (-1.23,46.06,-0.73,46.56), (-1.23,46.06,-0.73,46.56), (-1.14,46.06,-0.73,46.56), (0.73,46.06,1.23,46.56), (0.73,46.06,1.23,46.56), (0.73,46.06,1.14,46.56), (1.14,46.06,21.4,46.56), (21.31,46.06,21.81,46.56), (21.31,46.06,21.81,46.56), (21.4,46.06,21.81,46.56)])
R(ota, metal2_pin, [(-3.17,18.55,-2.89,18.83), (3.69,18.55,3.97,18.83)])
R(ota, via2, [(-4.71,2.03,-4.45,2.29), (-2.67,2.03,-2.41,2.29), (-4.71,4.07,-4.45,4.33), (-2.67,6.11,-2.41,6.37), (-6.75,8.15,-6.49,8.41), (-2.67,9.17,-2.41,9.43), (9.57,9.17,9.83,9.43), (-3.69,16.31,-3.43,16.57), (3.45,16.31,3.71,16.57), (-0.63,25.49,-0.37,25.75), (0.39,25.49,0.65,25.75), (-5.73,26.51,-5.47,26.77), (5.49,26.51,5.75,26.77), (-3.69,35.69,-3.43,35.95), (0.39,35.69,0.65,35.95), (-0.63,40.79,-0.37,41.05), (0.39,40.79,0.65,41.05), (-22.05,44.87,-21.79,45.13), (-0.63,44.87,-0.37,45.13), (0.39,44.87,0.65,45.13), (21.81,44.87,22.07,45.13)])
A(ota, via3, -25.11, -3.07, 0.26, 0.26, 3, 2, 12.24, 53.04)
R(ota, via3, [(12.63,-3.07,12.89,-2.81), (24.87,-3.07,25.13,-2.81), (-1.65,9.17,-1.39,9.43), (-1.65,25.49,-1.39,25.75), (-0.63,27.53,-0.37,27.79), (-0.63,46.91,-0.37,47.17), (12.63,49.97,12.89,50.23), (24.87,49.97,25.13,50.23)])
A(ota, via4, -25.11, -3.07, 0.26, 0.26, 3, 2, 12.24, 53.04)
R(ota, via4, [(12.63,-3.07,12.89,-2.81), (24.87,-3.07,25.13,-2.81), (12.63,49.97,12.89,50.23), (24.87,49.97,25.13,50.23)])
A(ota, metal3, -25.23, -3.19, 0.5, 0.5, 3, 2, 12.24, 53.04)
A(ota, metal3, -1.77, 25.37, 0.5, 0.5, 3, 1, 1.02, 0)
R(ota, metal3, [(-25.26,-3.22,-12.46,-2.66), (-13.02,-3.22,-0.22,-2.66), (-5.88,-3.22,-5.32,3.46), (-0.78,-3.22,13.04,-2.66), (12.48,-3.22,25.28,-2.66), (12.51,-3.19,13.01,-2.69), (24.75,-3.19,25.25,-2.69), (-4.83,1.91,-4.33,2.41), (-2.79,1.91,-2.29,2.41), (-4.72,2.02,-3.42,2.3), (-3.7,2.02,-3.42,3.32), (-2.68,2.02,-2.4,6.38), (-6.9,2.9,-5.32,3.46), (-6.9,2.9,-6.34,8.56), (-5.88,2.9,-4.3,3.46), (-4.86,2.9,-4.3,4.48), (-3.7,3.04,-2.4,3.32), (-4.83,3.95,-4.33,4.45), (-2.79,5.99,-2.29,6.49), (-6.9,6.98,-3.28,7.54), (-3.84,6.98,-3.28,16.72), (-3.84,8,-0.22,8.56), (-0.78,8,-0.22,9.58), (-6.87,8.03,-6.37,8.53), (-0.78,9.02,9.98,9.58), (-2.79,9.05,-2.29,9.55), (-1.77,9.05,-1.27,9.55), (9.45,9.05,9.95,9.55), (-2.68,9.16,-1.38,9.44), (-3.84,15.14,-2.26,15.7), (-2.82,15.14,-2.26,16.72), (-2.82,16.16,3.86,16.72), (-3.81,16.19,-3.31,16.69), (3.33,16.19,3.83,16.69), (-1.66,25.48,-0.36,25.76), (-0.64,25.48,0.66,25.76), (-5.85,26.39,-5.35,26.89), (5.37,26.39,5.87,26.89), (-5.74,26.5,-3.42,26.78), (-3.7,26.5,-3.42,35.96), (5.48,26.5,5.76,27.8), (-0.75,27.41,-0.25,27.91), (-0.64,27.52,5.76,27.8), (-3.7,34.66,-2.4,34.94), (-2.68,34.66,-2.4,35.96), (-3.81,35.57,-3.31,36.07), (0.27,35.57,0.77,36.07), (-2.68,35.68,0.66,35.96), (-1.66,35.68,-1.38,42.08), (-0.78,40.64,1.82,41.2), (1.26,40.64,1.82,49.36), (-0.75,40.67,-0.25,41.17), (0.27,40.67,0.77,41.17), (-1.66,41.8,-0.36,42.08), (-0.64,41.8,-0.36,45.14), (-25.26,44.72,-24.7,50.38), (-25.26,44.72,-21.64,45.28), (21.66,44.72,22.22,50.38), (-22.17,44.75,-21.67,45.25), (-0.75,44.75,-0.25,45.25), (0.27,44.75,0.77,45.25), (21.69,44.75,22.19,45.25), (0.38,44.86,0.66,47.18), (-0.75,46.79,-0.25,47.29), (-0.64,46.9,0.66,47.18), (-25.26,48.8,-23.68,49.36), (-24.24,48.8,-23.68,50.38), (-1.8,48.8,-1.24,50.38), (-1.8,48.8,1.82,49.36), (1.26,48.8,1.82,50.38), (-24.24,49.82,-12.46,50.38), (-13.02,49.82,-0.22,50.38), (1.26,49.82,13.04,50.38), (12.48,49.82,25.28,50.38), (12.51,49.85,13.01,50.35), (24.75,49.85,25.25,50.35)])
R(ota, metal3_pin, [(5.85,-3.22,6.41,-2.66), (-2.68,4.06,-2.4,4.34), (-6.9,49.82,-6.34,50.38)])
A(ota, metal4, -25.23, -3.19, 0.5, 0.5, 3, 2, 12.24, 53.04)
R(ota, metal4, [(12.51,-3.19,13.01,-2.69), (24.75,-3.19,25.25,-2.69), (-1.77,9.05,-1.27,9.55), (-1.66,9.16,-1.38,25.76), (-1.77,25.37,-1.27,25.87), (-0.75,27.41,-0.25,27.91), (-0.64,27.52,-0.36,47.18), (-0.75,46.79,-0.25,47.29), (12.51,49.85,13.01,50.35), (24.75,49.85,25.25,50.35)])
R(ota, metal4_pin, [(-0.64,37.21,-0.36,37.49)])
A(ota, metal5, -25.23, -3.19, 0.5, 0.5, 3, 2, 12.24, 53.04)
R(ota, metal5, [(-25.04,-3.94,25.04,-1.94), (12.51,-3.19,13.01,-2.69), (24.75,-3.19,25.25,-2.69), (-25.04,49.1,25.04,51.1), (12.51,49.85,13.01,50.35), (24.75,49.85,25.25,50.35)])
R(ota, lvpwell, [(-9.64,0,-3.78,7.09), (-2.78,0,9.64,11.09), (-6.36,17.09,-0.5,28.18), (0.5,17.09,6.36,28.18)])
ota.add(gdstk.Label('IBIAS', (-2.54,4.2), layer=42, texttype=10))
ota.add(gdstk.Label('OUT', (-0.5,37.35), layer=46, texttype=10))
ota.add(gdstk.Label('INN', (-3.03,18.69), layer=36, texttype=10))
ota.add(gdstk.Label('INP', (3.83,18.69), layer=36, texttype=10))
ota.add(gdstk.Label('VSS', (6.13,-2.94), layer=42, texttype=10))
ota.add(gdstk.Label('VDD', (-6.62,50.1), layer=42, texttype=10))

lib.write_gds('ota.gds')
